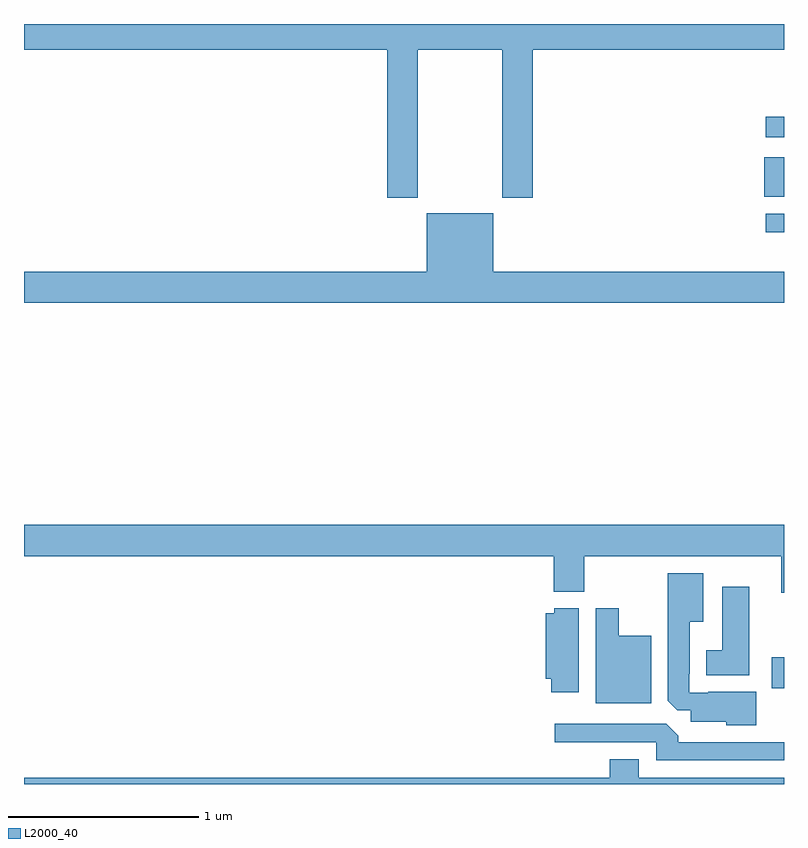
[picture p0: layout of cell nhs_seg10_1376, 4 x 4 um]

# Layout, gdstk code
import gdstk
lib = gdstk.Library(unit=1e-6, precision=1e-09)
def R(c, l, rs):  # rectangles x0, y0, x1, y1
    for r in rs: c.add(gdstk.rectangle(r[:2], r[2:], *l))
def P(c, l, *ps):  # polygons
    for p in ps: c.add(gdstk.Polygon(p, *l))
L2000_40 = (2000, 40)

nhs_seg10_1376 = lib.new_cell('nhs_seg10_1376')
R(nhs_seg10_1376, L2000_40, [(186.936,1249.004,187,1249.167), (186.903,1251.405,187,1251.501), (186.896,1251.59,187,1251.799), (186.903,1251.903,187,1252.012)])
P(nhs_seg10_1376, L2000_40, [(185.073,1252.364),(185.518,1252.364),(185.518,1251.585),(185.678,1251.585),(185.678,1252.364),(187,1252.364),(187,1252.5),(183,1252.5),(183,1252.364),(184.913,1252.364),(184.913,1251.585),(185.073,1251.585)],
  [(187,1251.196),(185.47,1251.196),(185.47,1251.505),(185.12,1251.505),(185.12,1251.196),(183,1251.196),(183,1251.032),(187,1251.032)],
  [(187,1249.864),(183,1249.864),(183,1249.7),(185.789,1249.7),(185.789,1249.511),(185.949,1249.511),(185.949,1249.7),(186.986,1249.7),(186.986,1249.506),(187,1249.506)],
  [(186.853,1248.985),(186.601,1248.985),(186.601,1248.981),(186.501,1248.981),(186.501,1249.081),(186.505,1249.081),(186.505,1249.355),(186.574,1249.355),(186.574,1249.609),(186.389,1249.609),(186.389,1248.937),(186.438,1248.888),(186.509,1248.888),(186.509,1248.827),(186.696,1248.827),(186.696,1248.809),(186.853,1248.809)],
  [(186.817,1249.537),(186.674,1249.537),(186.674,1249.204),(186.59,1249.204),(186.59,1249.073),(186.817,1249.073)],
  [(186.301,1249.279),(186.13,1249.279),(186.13,1249.426),(186.008,1249.426),(186.008,1248.926),(186.301,1248.926)],
  [(185.92,1249.426),(185.79,1249.426),(185.79,1249.399),(185.747,1249.399),(185.747,1249.055),(185.774,1249.055),(185.774,1248.984),(185.92,1248.984)],
  [(187,1248.72),(186.443,1248.72),(186.443,1248.754),(186.381,1248.816),(185.793,1248.816),(185.793,1248.72),(186.327,1248.72),(186.327,1248.624),(187,1248.624)],
  [(187,1248.532),(186.235,1248.532),(186.235,1248.631),(186.083,1248.631),(186.083,1248.532),(183,1248.532),(183,1248.5),(187,1248.5)])

lib.write_gds('nhs_seg10_1376.gds')
